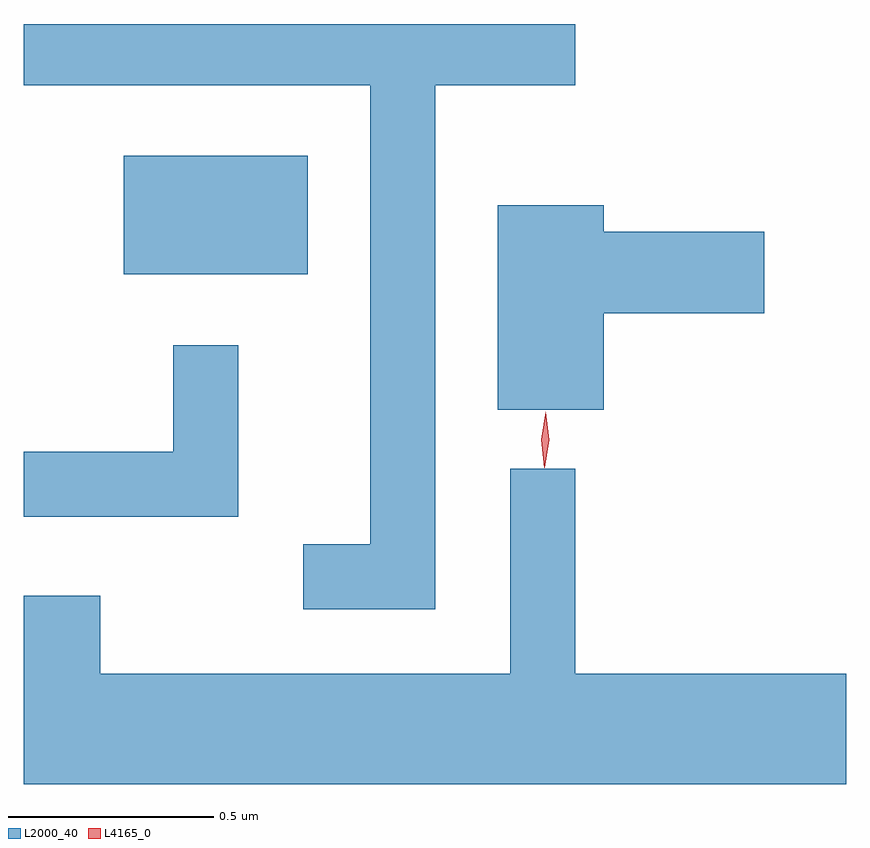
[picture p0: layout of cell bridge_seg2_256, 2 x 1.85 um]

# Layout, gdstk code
import gdstk
lib = gdstk.Library(unit=1e-6, precision=1e-09)
def R(c, l, rs):  # rectangles x0, y0, x1, y1
    for r in rs: c.add(gdstk.rectangle(r[:2], r[2:], *l))
def P(c, l, *ps):  # polygons
    for p in ps: c.add(gdstk.Polygon(p, *l))
L2000_40 = (2000, 40)
L4165_0 = (4165, 0)

bridge_seg2_256 = lib.new_cell('bridge_seg2_256')
R(bridge_seg2_256, L2000_40, [(489.616,1058.436,490.064,1058.724)])
P(bridge_seg2_256, L2000_40, [(490.374,1058.896),(490.714,1058.896),(490.714,1059.045),(489.373,1059.045),(489.373,1058.896),(490.216,1058.896),(490.216,1057.779),(490.053,1057.779),(490.053,1057.621),(490.374,1057.621)],
  [(490.784,1058.341),(491.174,1058.341),(491.174,1058.539),(490.784,1058.539),(490.784,1058.604),(490.526,1058.604),(490.526,1058.106),(490.784,1058.106)],
  [(489.894,1058.263),(489.736,1058.263),(489.736,1058.004),(489.373,1058.004),(489.373,1057.846),(489.894,1057.846)],
  [(491.373,1057.464),(490.714,1057.464),(490.714,1057.963),(490.556,1057.963),(490.556,1057.464),(489.559,1057.464),(489.559,1057.654),(489.373,1057.654),(489.373,1057.196),(491.373,1057.196)])
P(bridge_seg2_256, L4165_0, [(490.639,1057.968),(490.631,1058.034),(490.642,1058.099),(490.642,1058.1),(490.643,1058.099),(490.651,1058.033),(490.64,1057.968),(490.64,1057.968)],
  [(490.639,1057.965),(490.631,1058.034),(490.642,1058.102),(490.642,1058.102),(490.643,1058.102),(490.651,1058.033),(490.64,1057.965),(490.64,1057.965)])

lib.write_gds('bridge_seg2_256.gds')
